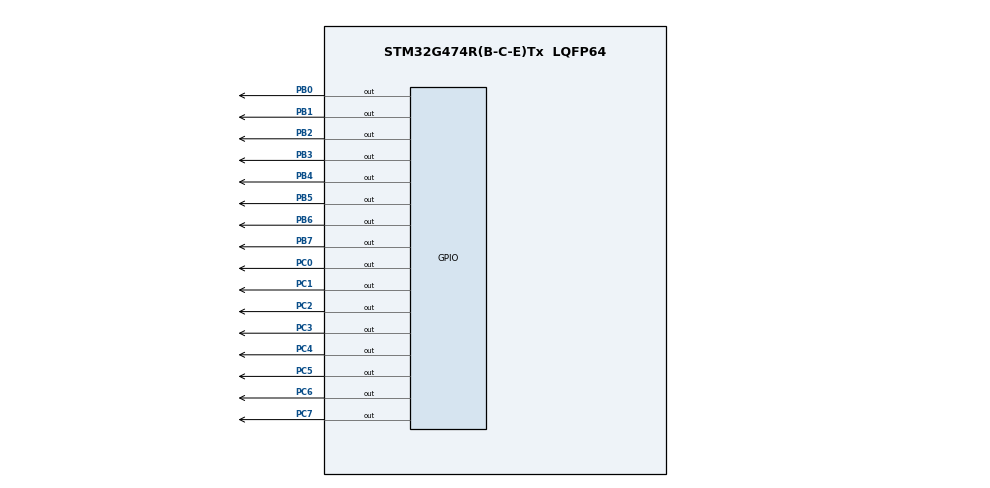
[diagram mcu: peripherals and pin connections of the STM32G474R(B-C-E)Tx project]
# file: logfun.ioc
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Mcu.Family=STM32G4
Mcu.Name=STM32G474R(B-C-E)Tx
Mcu.Package=LQFP64
NVIC.PriorityGroup=NVIC_PRIORITYGROUP_4
PA13.GPIO_Label=T_SWDIO
PA13.Signal=SYS_JTMS-SWDIO
PA14.GPIO_Label=T_SWCLK
PA14.Signal=SYS_JTCK-SWCLK
PA2.GPIO_Label=LPUART1_TX [STLINKV3E_VCP_RX]
PA2.Signal=LPUART1_TX
PA3.GPIO_Label=LPUART1_RX [STLINKV3E_VCP_TX]
PA3.Signal=LPUART1_RX
PB0.Signal=GPIO_Output
PB1.Signal=GPIO_Output
PB2.Signal=GPIO_Output
PB3.Signal=GPIO_Output
PB4.Signal=GPIO_Output
PB5.Signal=GPIO_Output
PB6.Signal=GPIO_Output
PB7.Signal=GPIO_Output
PC0.Signal=GPIO_Output
PC1.Signal=GPIO_Output
PC14-OSC32_IN.GPIO_Label=RCC_OSC32_IN
PC14-OSC32_IN.Signal=RCC_OSC32_IN
PC15-OSC32_OUT.GPIO_Label=RCC_OSC32_OUT
PC15-OSC32_OUT.Signal=RCC_OSC32_OUT
PC2.Signal=GPIO_Output
PC3.Signal=GPIO_Output
PC4.Signal=GPIO_Output
PC5.Signal=GPIO_Output
PC6.Signal=GPIO_Output
PC7.Signal=GPIO_Output
PF0-OSC_IN.GPIO_Label=RCC_OSC_IN
PF0-OSC_IN.Signal=RCC_OSC_IN
PF1-OSC_OUT.GPIO_Label=RCC_OSC_OUT
PF1-OSC_OUT.Signal=RCC_OSC_OUT
ProjectManager.HeapSize=0x200
ProjectManager.StackSize=0x400
ProjectManager.TargetToolchain=STM32CubeIDE
RCC.ADC12Freq_Value=170000000
RCC.ADC345Freq_Value=170000000
RCC.AHBFreq_Value=170000000
RCC.APB1Freq_Value=170000000
RCC.APB1TimFreq_Value=170000000
RCC.APB2Freq_Value=170000000
RCC.APB2TimFreq_Value=170000000
RCC.CortexFreq_Value=170000000
RCC.EXTERNAL_CLOCK_VALUE=12288000
RCC.HCLKFreq_Value=170000000
RCC.HSE_VALUE=24000000
RCC.HSI48_VALUE=48000000
RCC.HSI_VALUE=16000000
RCC.LSE_VALUE=32768
RCC.PLLM=RCC_PLLM_DIV4
RCC.PLLN=85
RCC.RTCClockSelection=RCC_RTCCLKSOURCE_LSE
RCC.SYSCLKFreq_VALUE=170000000
RCC.SYSCLKSource=RCC_SYSCLKSOURCE_PLLCLK
RCC.USBFreq_Value=170000000
RCC.VCOOutputFreq_Value=340000000
VP_SYS_VS_DBSignals.Mode=DisableDeadBatterySignals
board=NUCLEO-G474RE

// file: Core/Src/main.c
/* USER CODE BEGIN Header */
/**
  ******************************************************************************
  * @file           : main.c
  * @brief          : Main program body
  ******************************************************************************
  * @attention
  *
  * Copyright (c) 2026 STMicroelectronics.
  * All rights reserved.
  *
  * This software is licensed under terms that can be found in the LICENSE file
  * in the root directory of this software component.
  * If no LICENSE file comes with this software, it is provided AS-IS.
  *
  ******************************************************************************
  */
/* USER CODE END Header */
#include "main.h"
#include "gpio.h"

/* USER CODE BEGIN PD */
#define F0_PORT GPIOB
#define F1_PORT GPIOC

#define F0_LED_MASK (LL_GPIO_PIN_0 | LL_GPIO_PIN_1 | \
                     LL_GPIO_PIN_2 | LL_GPIO_PIN_3 | \
                     LL_GPIO_PIN_4 | LL_GPIO_PIN_5 | \
                     LL_GPIO_PIN_6 | LL_GPIO_PIN_7)

#define F1_LED_MASK (LL_GPIO_PIN_0 | LL_GPIO_PIN_1 | \
                     LL_GPIO_PIN_2 | LL_GPIO_PIN_3 | \
                     LL_GPIO_PIN_4 | LL_GPIO_PIN_5 | \
                     LL_GPIO_PIN_6 | LL_GPIO_PIN_7)
/* USER CODE END PD */

/* USER CODE BEGIN PV */
volatile uint8_t A_values[6];
volatile uint8_t B_values[6];
volatile uint8_t C_values[6];
volatile uint8_t D_values[6];
volatile uint8_t F0_values[6];
volatile uint8_t F1_values[6];
/* USER CODE END PV */

void SystemClock_Config(void);

int main(void)
{

  /* USER CODE BEGIN 1 */
	uint8_t A = 0x52;
	uint8_t B = 0x42;
	uint8_t C = 0x22;
	uint8_t D = 0x02;

	uint8_t F0;
	uint8_t F1;
  /* USER CODE END 1 */

  /* MCU Configuration--------------------------------------------------------*/

  /* Reset of all peripherals, Initializes the Flash interface and the Systick. */
  LL_APB2_GRP1_EnableClock(LL_APB2_GRP1_PERIPH_SYSCFG);
  LL_APB1_GRP1_EnableClock(LL_APB1_GRP1_PERIPH_PWR);

  /* System interrupt init*/
  NVIC_SetPriorityGrouping(NVIC_PRIORITYGROUP_4);

  /** Disable the internal Pull-Up in Dead Battery pins of UCPD peripheral
  */
  LL_PWR_DisableUCPDDeadBattery();

  /* Configure the system clock */
  SystemClock_Config();

  /* Initialize all configured peripherals */
  MX_GPIO_Init();
  /* USER CODE BEGIN 2 */
  for (uint8_t i = 0; i < 6; i++)
  {
      /*
       * Αποθήκευση των τιμών της συγκεκριμένης επανάληψης
       * ώστε να μπορούν να παρακολουθηθούν στο debugger.
       */
      A_values[i] = A;
      B_values[i] = B;
      C_values[i] = C;
      D_values[i] = D;

      /*
       * F0 = (A' · B + B' · D)'
       *
       * ~  : bitwise NOT
       * &  : bitwise AND
       * |  : bitwise OR
       */
      F0 = (uint8_t)~(
              ((uint8_t)(~A) & B) |
              ((uint8_t)(~B) & D)
           );

      /*
       * F1 = (A + C) · (B + D)
       *
       * Στη λογική άλγεβρα:
       * + σημαίνει OR
       * · σημαίνει AND
       */
      F1 = (uint8_t)((A | C) & (B | D));

      F0_values[i] = F0;
      F1_values[i] = F1;

      /*
       * Σβήσιμο των LEDs PB0-PB7 και PC0-PC7.
       */
      LL_GPIO_ResetOutputPin(F0_PORT, F0_LED_MASK);
      LL_GPIO_ResetOutputPin(F1_PORT, F1_LED_MASK);

      /*
       * Εμφάνιση του F0 στα PB0-PB7
       * και του F1 στα PC0-PC7.
       *
       * Επειδή οι τιμές είναι 8 bit και χρησιμοποιούνται
       * τα pins 0 έως 7, η τιμή μπορεί να χρησιμοποιηθεί
       * απευθείας ως pin mask.
       */
      LL_GPIO_SetOutputPin(F0_PORT, (uint32_t)F0);
      LL_GPIO_SetOutputPin(F1_PORT, (uint32_t)F1);

      /*
       * Παραμονή του αποτελέσματος στα LEDs για 2 sec.
       */
      LL_mDelay(2000);

      /*
       * Αύξηση των μεταβλητών για την επόμενη επανάληψη.
       */
      A = (uint8_t)(A + 0x01);
      B = (uint8_t)(B + 0x02);
      C = (uint8_t)(C + 0x03);
      D = (uint8_t)(D + 0x04);
  }
  /* USER CODE END 2 */

  /* Infinite loop */
  while (1)
  {

  }
}

void SystemClock_Config(void)
{
  LL_FLASH_SetLatency(LL_FLASH_LATENCY_4);
  while(LL_FLASH_GetLatency() != LL_FLASH_LATENCY_4)
  {
  }
  LL_PWR_EnableRange1BoostMode();
  LL_RCC_HSI_Enable();
   /* Wait till HSI is ready */
  while(LL_RCC_HSI_IsReady() != 1)
  {
  }

  LL_RCC_HSI_SetCalibTrimming(64);
  LL_RCC_PLL_ConfigDomain_SYS(LL_RCC_PLLSOURCE_HSI, LL_RCC_PLLM_DIV_4, 85, LL_RCC_PLLR_DIV_2);
  LL_RCC_PLL_EnableDomain_SYS();
  LL_RCC_PLL_Enable();
   /* Wait till PLL is ready */
  while(LL_RCC_PLL_IsReady() != 1)
  {
  }

  LL_RCC_SetSysClkSource(LL_RCC_SYS_CLKSOURCE_PLL);
  LL_RCC_SetAHBPrescaler(LL_RCC_SYSCLK_DIV_2);
   /* Wait till System clock is ready */
  while(LL_RCC_GetSysClkSource() != LL_RCC_SYS_CLKSOURCE_STATUS_PLL)
  {
  }

  /* Insure 1us transition state at intermediate medium speed clock*/
  for (__IO uint32_t i = (170 >> 1); i !=0; i--);

  /* Set AHB prescaler*/
  LL_RCC_SetAHBPrescaler(LL_RCC_SYSCLK_DIV_1);
  LL_RCC_SetAPB1Prescaler(LL_RCC_APB1_DIV_1);
  LL_RCC_SetAPB2Prescaler(LL_RCC_APB2_DIV_1);

  LL_Init1msTick(170000000);

  LL_SetSystemCoreClock(170000000);
}

void Error_Handler(void)
{
  __disable_irq();
  while (1)
  {
  }
}
